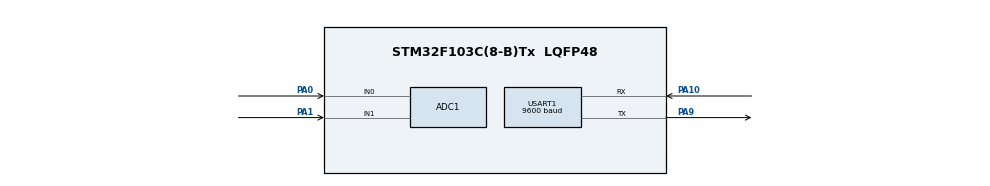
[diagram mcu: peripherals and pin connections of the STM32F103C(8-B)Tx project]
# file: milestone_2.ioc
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ADC1.Channel-0\#ChannelRegularConversion=ADC_CHANNEL_0
ADC1.Channel-2\#ChannelRegularConversion=ADC_CHANNEL_0
ADC1.DiscontinuousConvMode=ENABLE
ADC1.NbrOfConversion=2
ADC1.NbrOfConversionFlag=1
ADC1.Rank-0\#ChannelRegularConversion=1
ADC1.Rank-2\#ChannelRegularConversion=2
ADC1.SamplingTime-0\#ChannelRegularConversion=ADC_SAMPLETIME_1CYCLE_5
ADC1.SamplingTime-2\#ChannelRegularConversion=ADC_SAMPLETIME_1CYCLE_5
ADC1.master=1
Mcu.Family=STM32F1
Mcu.Name=STM32F103C(8-B)Tx
Mcu.Package=LQFP48
NVIC.PriorityGroup=NVIC_PRIORITYGROUP_4
PA0-WKUP.Signal=ADCx_IN0
PA1.Signal=ADCx_IN1
PA10.Mode=Asynchronous
PA10.Signal=USART1_RX
PA9.Mode=Asynchronous
PA9.Signal=USART1_TX
ProjectManager.HeapSize=0x200
ProjectManager.StackSize=0x400
ProjectManager.TargetToolchain=STM32CubeIDE
RCC.APB1Freq_Value=8000000
RCC.APB2Freq_Value=8000000
SH.ADCx_IN0.0=ADC1_IN0,IN0
SH.ADCx_IN1.0=ADC1_IN1,IN1
USART1.BaudRate=9600
USART1.VirtualMode=VM_ASYNC
VP_SYS_VS_ND.Mode=No_Debug
board=custom

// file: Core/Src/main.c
/* USER CODE BEGIN Header */
/**
  ******************************************************************************
  * @file           : main.c
  * @brief          : Main program body
  ******************************************************************************
  * @attention
  *
  * Copyright (c) 2026 STMicroelectronics.
  * All rights reserved.
  *
  * This software is licensed under terms that can be found in the LICENSE file
  * in the root directory of this software component.
  * If no LICENSE file comes with this software, it is provided AS-IS.
  *
  ******************************************************************************
  */
/* USER CODE END Header */
#include "main.h"

/* USER CODE BEGIN Includes */
#include <stdio.h>
#include <string.h>
/* USER CODE END Includes */

ADC_HandleTypeDef hadc1;

UART_HandleTypeDef huart1;

/* USER CODE BEGIN PV */

uint32_t ADC_ReadTemp = 0;
uint32_t ADC_ReadPosition = 0;

float Engine_Temp = 0.0;
float Throttle_Position = 0.0;

char UART_SendString[100];

/* USER CODE END PV */

void SystemClock_Config(void);
static void MX_GPIO_Init(void);
static void MX_ADC1_Init(void);
static void MX_USART1_UART_Init(void);

int main(void)
{

  /* MCU Configuration--------------------------------------------------------*/

  /* Reset of all peripherals, Initializes the Flash interface and the Systick. */
  HAL_Init();

  /* Configure the system clock */
  SystemClock_Config();

  /* Initialize all configured peripherals */
  MX_GPIO_Init();
  MX_ADC1_Init();
  MX_USART1_UART_Init();
  /* USER CODE BEGIN 2 */
  HAL_ADCEx_Calibration_Start(&hadc1);

  if (HAL_ADCEx_Calibration_Start(&hadc1) != HAL_OK)
  {
      sprintf(UART_SendString, "Calibration FAILED\r\n");
      HAL_UART_Transmit(&huart1, (uint8_t*)UART_SendString, strlen(UART_SendString), HAL_MAX_DELAY);
  }
  /* USER CODE END 2 */

  /* Infinite loop */
  /* USER CODE BEGIN WHILE */
  while (1)
  {
	  HAL_ADC_Start(&hadc1);
	  if (HAL_ADC_PollForConversion(&hadc1, 1000) == HAL_OK)
	  {
		  ADC_ReadTemp = HAL_ADC_GetValue(&hadc1);
	  }

	  if (HAL_ADC_PollForConversion(&hadc1, 1000) == HAL_OK)
	  {
		  ADC_ReadPosition = HAL_ADC_GetValue(&hadc1);
	  }

	  HAL_ADC_Stop(&hadc1);

	  Engine_Temp = ( ADC_ReadTemp / 4095.0 ) * 150.0;
	  Throttle_Position = ( ADC_ReadPosition / 4095.0 ) * 100.0;

	  sprintf(UART_SendString, "Engine Temp = %.1f C | Throttle = %.1f %%\r\n", Engine_Temp, Throttle_Position);
	  HAL_UART_Transmit(&huart1, (uint8_t*)UART_SendString, strlen(UART_SendString), HAL_MAX_DELAY);

	  HAL_Delay(1000);
    /* USER CODE END WHILE */

  }
}

void SystemClock_Config(void)
{
  RCC_OscInitTypeDef RCC_OscInitStruct = {0};
  RCC_ClkInitTypeDef RCC_ClkInitStruct = {0};
  RCC_PeriphCLKInitTypeDef PeriphClkInit = {0};

  /** Initializes the RCC Oscillators according to the specified parameters
  * in the RCC_OscInitTypeDef structure.
  */
  RCC_OscInitStruct.OscillatorType = RCC_OSCILLATORTYPE_HSI;
  RCC_OscInitStruct.HSIState = RCC_HSI_ON;
  RCC_OscInitStruct.HSICalibrationValue = RCC_HSICALIBRATION_DEFAULT;
  RCC_OscInitStruct.PLL.PLLState = RCC_PLL_NONE;
  if (HAL_RCC_OscConfig(&RCC_OscInitStruct) != HAL_OK)
  {
    Error_Handler();
  }

  /** Initializes the CPU, AHB and APB buses clocks
  */
  RCC_ClkInitStruct.ClockType = RCC_CLOCKTYPE_HCLK|RCC_CLOCKTYPE_SYSCLK
                              |RCC_CLOCKTYPE_PCLK1|RCC_CLOCKTYPE_PCLK2;
  RCC_ClkInitStruct.SYSCLKSource = RCC_SYSCLKSOURCE_HSI;
  RCC_ClkInitStruct.AHBCLKDivider = RCC_SYSCLK_DIV1;
  RCC_ClkInitStruct.APB1CLKDivider = RCC_HCLK_DIV1;
  RCC_ClkInitStruct.APB2CLKDivider = RCC_HCLK_DIV1;

  if (HAL_RCC_ClockConfig(&RCC_ClkInitStruct, FLASH_LATENCY_0) != HAL_OK)
  {
    Error_Handler();
  }
  PeriphClkInit.PeriphClockSelection = RCC_PERIPHCLK_ADC;
  PeriphClkInit.AdcClockSelection = RCC_ADCPCLK2_DIV2;
  if (HAL_RCCEx_PeriphCLKConfig(&PeriphClkInit) != HAL_OK)
  {
    Error_Handler();
  }
}

static void MX_ADC1_Init(void)
{

  ADC_ChannelConfTypeDef sConfig = {0};

  /** Common config
  */
  hadc1.Instance = ADC1;
  hadc1.Init.ScanConvMode = ADC_SCAN_ENABLE;
  hadc1.Init.ContinuousConvMode = DISABLE;
  hadc1.Init.DiscontinuousConvMode = ENABLE;
  hadc1.Init.NbrOfDiscConversion = 1;
  hadc1.Init.ExternalTrigConv = ADC_SOFTWARE_START;
  hadc1.Init.DataAlign = ADC_DATAALIGN_RIGHT;
  hadc1.Init.NbrOfConversion = 2;
  if (HAL_ADC_Init(&hadc1) != HAL_OK)
  {
    Error_Handler();
  }

  /** Configure Regular Channel
  */
  sConfig.Channel = ADC_CHANNEL_0;
  sConfig.Rank = ADC_REGULAR_RANK_1;
  sConfig.SamplingTime = ADC_SAMPLETIME_1CYCLE_5;
  if (HAL_ADC_ConfigChannel(&hadc1, &sConfig) != HAL_OK)
  {
    Error_Handler();
  }

  /** Configure Regular Channel
  */
  sConfig.Rank = ADC_REGULAR_RANK_2;
  if (HAL_ADC_ConfigChannel(&hadc1, &sConfig) != HAL_OK)
  {
    Error_Handler();
  }

}

static void MX_USART1_UART_Init(void)
{

  huart1.Instance = USART1;
  huart1.Init.BaudRate = 9600;
  huart1.Init.WordLength = UART_WORDLENGTH_8B;
  huart1.Init.StopBits = UART_STOPBITS_1;
  huart1.Init.Parity = UART_PARITY_NONE;
  huart1.Init.Mode = UART_MODE_TX_RX;
  huart1.Init.HwFlowCtl = UART_HWCONTROL_NONE;
  huart1.Init.OverSampling = UART_OVERSAMPLING_16;
  if (HAL_UART_Init(&huart1) != HAL_OK)
  {
    Error_Handler();
  }

}

static void MX_GPIO_Init(void)
{

  /* GPIO Ports Clock Enable */
  __HAL_RCC_GPIOA_CLK_ENABLE();

  /* USER CODE BEGIN MX_GPIO_Init_2 */
  GPIO_InitTypeDef GPIO_InitStruct = {0};

  GPIO_InitStruct.Pin = GPIO_PIN_0 | GPIO_PIN_1;
  GPIO_InitStruct.Mode = GPIO_MODE_ANALOG;
  GPIO_InitStruct.Pull = GPIO_NOPULL;
  HAL_GPIO_Init(GPIOA, &GPIO_InitStruct);
  /* USER CODE END MX_GPIO_Init_2 */
}

void Error_Handler(void)
{
  __disable_irq();
  while (1)
  {
  }
}
